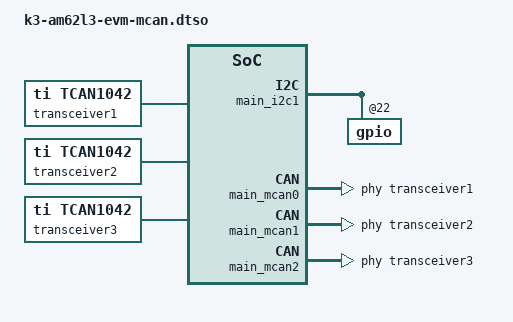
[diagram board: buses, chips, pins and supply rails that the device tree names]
// SPDX-License-Identifier: GPL-2.0-or-later OR MIT
/*
 * DT Overlay for enabling MCAN for AM62L-EVM.
 *
 * Copyright (C) 2025 Texas Instruments Incorporated - http://www.ti.com/
 */

/dts-v1/;
/plugin/;

#include <dt-bindings/gpio/gpio.h>
#include "k3-pinctrl.h"

&{/} {
	transceiver1: can-phy0 {
		compatible = "ti,tcan1042";
		#phy-cells = <0>;
		max-bitrate = <5000000>;
	};

	transceiver2: can-phy1 {
		compatible = "ti,tcan1042";
		#phy-cells = <0>;
		max-bitrate = <5000000>;
	};

	transceiver3: can-phy2 {
		compatible = "ti,tcan1042";
		#phy-cells = <0>;
		max-bitrate = <5000000>;
	};
};

&pmx0 {
	main_mcan0_pins_default: main-mcan0-default-pins {
		pinctrl-single,pins = <
			AM62LX_IOPAD(0x01c8, PIN_INPUT, 0) /* (B15) MCAN0_RX */
			AM62LX_IOPAD(0x01c4, PIN_OUTPUT, 0) /* (B16) MCAN0_TX */
		>;
	};

	main_mcan1_pins_default: main-mcan1-default-pins {
		pinctrl-single,pins = <
			AM62LX_IOPAD(0x0180, PIN_INPUT, 5) /* (A8) MCASP0_AXR3.MCAN1_RX */
			AM62LX_IOPAD(0x0184, PIN_OUTPUT, 5) /* (B10) MCASP0_AXR2.MCAN1_TX */
		>;
	};

	main_mcan2_pins_default: main-mcan2-default-pins {
		pinctrl-single,pins = <
			AM62LX_IOPAD(0x01bc, PIN_INPUT, 6) /* (B14) UART0_CTSn.MCAN2_RX */
			AM62LX_IOPAD(0x01c0, PIN_OUTPUT, 6) /* (B13) UART0_RTSn.MCAN2_TX */
		>;
	};
};

&main_uart1 {
	/* Conflict with main_mcan1 */
	status = "disabled";
};

&main_i2c1 {
	/*
	* Set UART1_FET_SEL low to route
	* MCAN1 signals to MCAN1 HDR
	*/
	gpio@22 {
		p02-hog {
			/* P02 - UART1_FET_SEL */
			gpio-hog;
			gpios = <2 GPIO_ACTIVE_HIGH>;
			output-low;
			line-name = "UART1_FET_SEL";
		};
	};
};

&main_mcan0 {
	/* RX p3 & TX p2 of J16 */
	pinctrl-names = "default";
	pinctrl-0 = <&main_mcan0_pins_default>;
	phys = <&transceiver1>;
	status = "okay";
};

&main_mcan1 {
	/* RX p3 & TX p2 of J6 */
	pinctrl-names = "default";
	pinctrl-0 = <&main_mcan1_pins_default>;
	phys = <&transceiver2>;
	status = "okay";
};

&main_mcan2 {
	/* RX p3 & TX p2 of J18 */
	pinctrl-names = "default";
	pinctrl-0 = <&main_mcan2_pins_default>;
	phys = <&transceiver3>;
	status = "okay";
};
